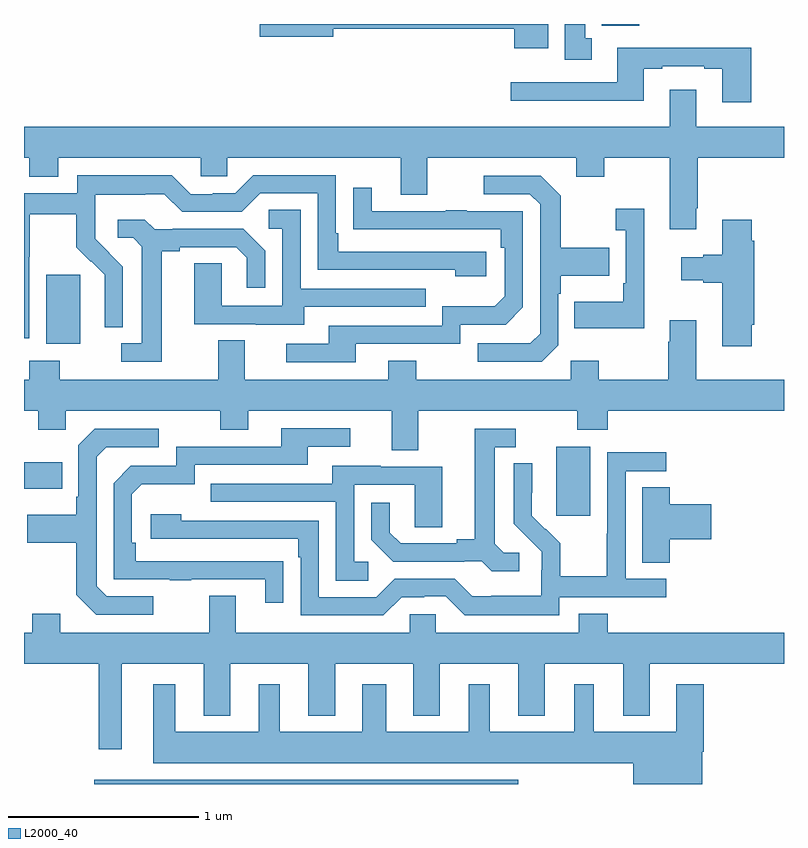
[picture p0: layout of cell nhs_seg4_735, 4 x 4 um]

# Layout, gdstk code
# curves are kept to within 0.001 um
import gdstk
lib = gdstk.Library(unit=1e-6, precision=1e-09)
def R(c, l, rs):  # rectangles x0, y0, x1, y1
    for r in rs: c.add(gdstk.rectangle(r[:2], r[2:], *l))
def P(c, l, *ps):  # polygons
    for p in ps: c.add(gdstk.Polygon(p, *l))
L2000_40 = (2000, 40)

nhs_seg4_735 = lib.new_cell('nhs_seg4_735')
R(nhs_seg4_735, L2000_40, [(149.37,750.9,151.6,750.922), (151.802,752.313,151.981,752.674), (149,752.453,149.201,752.593), (149.117,753.218,149.296,753.579), (152.042,754.892,152.239,754.9)])
P(nhs_seg4_735, L2000_40, [(151.759,754.9),(150.24,754.9),(150.24,754.834),(150.628,754.834),(150.628,754.876),(151.58,754.876),(151.58,754.772),(151.759,754.772)],
  [(151.987,754.826),(151.954,754.826),(151.954,754.9),(151.847,754.9),(151.847,754.713),(151.987,754.713)],
  [(152.828,754.774),(152.123,754.774),(152.123,754.593),(151.563,754.593),(151.563,754.496),(152.263,754.496),(152.263,754.665),(152.359,754.665),(152.359,754.677),(152.579,754.677),(152.579,754.665),(152.675,754.665),(152.675,754.488),(152.828,754.488)],
  [(152.539,753.931),(152.547,753.931),(152.547,754.196),(153,754.196),(153,754.36),(152.539,754.36),(152.539,754.555),(152.399,754.555),(152.399,754.36),(149,754.36),(149,754.196),(149.027,754.196),(149.027,754.097),(149.179,754.097),(149.179,754.196),(149.931,754.196),(149.931,754.098),(150.069,754.098),(150.069,754.196),(150.983,754.196),(150.983,754.002),(151.123,754.002),(151.123,754.196),(151.907,754.196),(151.907,754.097),(152.055,754.097),(152.055,754.196),(152.399,754.196),(152.399,753.819),(152.539,753.819)],
  [(149.028,753.247),(149.028,753.676),(149.031,753.676),(149.031,753.9),(149.275,753.9),(149.275,753.725),(149.352,753.648),(149.355,753.651),(149.426,753.581),(149.426,753.458),(149.424,753.458),(149.424,753.304),(149.52,753.304),(149.52,753.622),(149.374,753.77),(149.374,753.867),(149.376,753.867),(149.376,754.001),(149.639,754.001),(149.639,754.005),(149.739,754.005),(149.832,753.912),(150.147,753.912),(150.243,754.008),(150.546,754.008),(150.546,753.606),(151.271,753.606),(151.271,753.572),(151.432,753.572),(151.432,753.702),(150.655,753.702),(150.655,753.799),(150.642,753.799),(150.642,754.104),(150.207,754.104),(150.111,754.008),(149.993,754.008),(149.993,754.005),(149.877,754.005),(149.777,754.105),(149.28,754.105),(149.28,754.008),(149,754.008),(149,753.247)],
  [(151.812,753.21),(151.812,753.479),(151.825,753.479),(151.825,753.575),(152.081,753.575),(152.081,753.723),(151.825,753.723),(151.825,753.995),(151.719,754.101),(151.419,754.101),(151.419,754.005),(151.662,754.005),(151.716,753.951),(151.716,753.27),(151.665,753.219),(151.389,753.219),(151.389,753.123),(151.725,753.123)],
  [(150.745,753.216),(151.296,753.216),(151.296,753.318),(151.536,753.318),(151.626,753.408),(151.626,753.915),(151.331,753.915),(151.331,753.92),(151.219,753.92),(151.219,753.915),(150.829,753.915),(150.829,754.039),(150.733,754.039),(150.733,753.82),(151.51,753.819),(151.51,753.722),(151.53,753.722),(151.53,753.468),(151.477,753.415),(151.2,753.415),(151.2,753.312),(150.605,753.312),(150.605,753.216),(150.381,753.216),(150.381,753.12),(150.745,753.12)],
  [(152.264,753.928),(152.115,753.928),(152.115,753.815),(152.166,753.815),(152.166,753.535),(152.154,753.535),(152.154,753.439),(151.897,753.439),(151.897,753.299),(152.264,753.299)],
  [(150.475,753.411),(151.115,753.411),(151.115,753.507),(150.456,753.507),(150.456,753.923),(150.288,753.923),(150.288,753.822),(150.36,753.822),(150.36,753.417),(150.042,753.417),(150.042,753.641),(149.897,753.641),(149.897,753.321),(150.221,753.321),(150.221,753.317),(150.475,753.317)],
  [(152.83,753.316),(152.843,753.316),(152.843,753.758),(152.83,753.758),(152.83,753.871),(152.675,753.871),(152.675,753.686),(152.576,753.686),(152.576,753.673),(152.46,753.673),(152.46,753.551),(152.576,753.551),(152.576,753.539),(152.675,753.539),(152.675,753.204),(152.83,753.204)],
  [(149.725,753.704),(149.821,753.704),(149.821,753.726),(150.116,753.726),(150.173,753.669),(150.173,753.513),(150.27,753.513),(150.27,753.706),(150.154,753.822),(149.782,753.822),(149.782,753.819),(149.688,753.819),(149.636,753.871),(149.493,753.871),(149.493,753.774),(149.574,753.774),(149.621,753.727),(149.621,753.219),(149.511,753.219),(149.511,753.123),(149.725,753.123)],
  [(151.075,752.864),(151.912,752.864),(151.912,752.765),(152.072,752.765),(152.072,752.864),(153,752.864),(153,753.028),(152.539,753.028),(152.539,753.34),(152.399,753.34),(152.399,753.227),(152.392,753.227),(152.392,753.028),(152.025,753.028),(152.025,753.127),(151.878,753.127),(151.878,753.028),(151.065,753.028),(151.065,753.127),(150.917,753.127),(150.917,753.028),(150.163,753.028),(150.163,753.236),(150.023,753.236),(150.023,753.028),(149.187,753.028),(149.187,753.127),(149.027,753.127),(149.027,753.028),(149,753.028),(149,752.864),(149.074,752.864),(149.074,752.765),(149.22,752.765),(149.22,752.864),(150.034,752.864),(150.034,752.765),(150.181,752.765),(150.181,752.864),(150.935,752.864),(150.935,752.656),(151.075,752.656)],
  [(150.365,752.072),(149.588,752.073),(149.588,752.17),(149.568,752.17),(149.568,752.424),(149.621,752.477),(149.898,752.477),(149.898,752.58),(150.493,752.58),(150.493,752.676),(150.718,752.676),(150.718,752.772),(150.353,752.772),(150.353,752.676),(149.802,752.676),(149.802,752.574),(149.562,752.574),(149.472,752.484),(149.472,751.977),(149.767,751.977),(149.767,751.972),(149.879,751.972),(149.879,751.977),(150.269,751.977),(150.269,751.854),(150.365,751.854)],
  [(151.606,752.118),(151.524,752.118),(151.477,752.165),(151.477,752.673),(151.588,752.673),(151.588,752.769),(151.373,752.769),(151.373,752.189),(151.277,752.189),(151.277,752.166),(150.982,752.166),(150.925,752.223),(150.925,752.38),(150.828,752.38),(150.828,752.186),(150.944,752.07),(151.316,752.07),(151.316,752.073),(151.41,752.073),(151.462,752.021),(151.606,752.021)],
  [(149.68,751.887),(149.436,751.887),(149.382,751.941),(149.382,752.622),(149.433,752.673),(149.71,752.673),(149.71,752.769),(149.373,752.769),(149.286,752.682),(149.286,752.413),(149.274,752.413),(149.274,752.317),(149.017,752.317),(149.017,752.17),(149.274,752.17),(149.274,751.897),(149.379,751.791),(149.68,751.791)],
  [(151.818,751.884),(152.38,751.884),(152.38,751.98),(152.166,751.98),(152.166,752.547),(152.38,752.547),(152.38,752.646),(152.07,752.646),(152.07,752.216),(152.068,752.216),(152.068,751.993),(151.823,751.993),(151.823,752.167),(151.746,752.244),(151.743,752.241),(151.673,752.312),(151.674,752.588),(151.578,752.588),(151.578,752.27),(151.724,752.122),(151.724,752.025),(151.722,752.025),(151.722,751.891),(151.459,751.891),(151.459,751.887),(151.359,751.887),(151.266,751.98),(150.951,751.98),(150.855,751.884),(150.552,751.884),(150.552,752.286),(149.828,752.286),(149.828,752.32),(149.667,752.32),(149.667,752.19),(150.443,752.19),(150.443,752.093),(150.456,752.093),(150.456,751.788),(150.891,751.788),(150.987,751.884),(151.106,751.884),(151.106,751.887),(151.221,751.887),(151.321,751.787),(151.818,751.787)],
  [(150.811,752.07),(150.738,752.07),(150.738,752.475),(151.056,752.475),(151.056,752.251),(151.201,752.251),(151.201,752.571),(150.877,752.571),(150.877,752.575),(150.623,752.575),(150.623,752.481),(149.983,752.481),(149.983,752.385),(150.642,752.385),(150.642,751.969),(150.811,751.969)],
  [(152.399,752.189),(152.617,752.189),(152.617,752.372),(152.399,752.372),(152.399,752.462),(152.255,752.462),(152.255,752.065),(152.399,752.065)],
  [(149.515,751.532),(149.945,751.532),(149.945,751.259),(150.085,751.259),(150.085,751.532),(150.497,751.532),(150.497,751.259),(150.637,751.259),(150.637,751.532),(151.049,751.532),(151.049,751.259),(151.189,751.259),(151.189,751.532),(151.601,751.532),(151.601,751.259),(151.741,751.259),(151.741,751.532),(152.153,751.532),(152.153,751.259),(152.293,751.259),(152.293,751.532),(153,751.532),(153,751.696),(152.072,751.696),(152.072,751.795),(151.919,751.795),(151.919,751.696),(151.167,751.696),(151.167,751.794),(151.029,751.794),(151.029,751.696),(150.115,751.696),(150.115,751.891),(149.975,751.891),(149.975,751.696),(149.191,751.696),(149.191,751.795),(149.044,751.795),(149.044,751.696),(149,751.696),(149,751.532),(149.394,751.532),(149.394,751.083),(149.515,751.083)],
  [(152.569,751.07),(152.577,751.07),(152.577,751.426),(152.432,751.426),(152.432,751.174),(151.999,751.174),(151.999,751.426),(151.895,751.426),(151.895,751.174),(151.45,751.174),(151.45,751.426),(151.34,751.426),(151.34,751.174),(150.907,751.174),(150.907,751.426),(150.779,751.426),(150.779,751.174),(150.346,751.174),(150.346,751.426),(150.236,751.426),(150.236,751.174),(149.797,751.174),(149.797,751.426),(149.681,751.426),(149.681,751.01),(152.207,751.01),(152.207,750.9),(152.569,750.9)])

lib.write_gds('nhs_seg4_735.gds')
